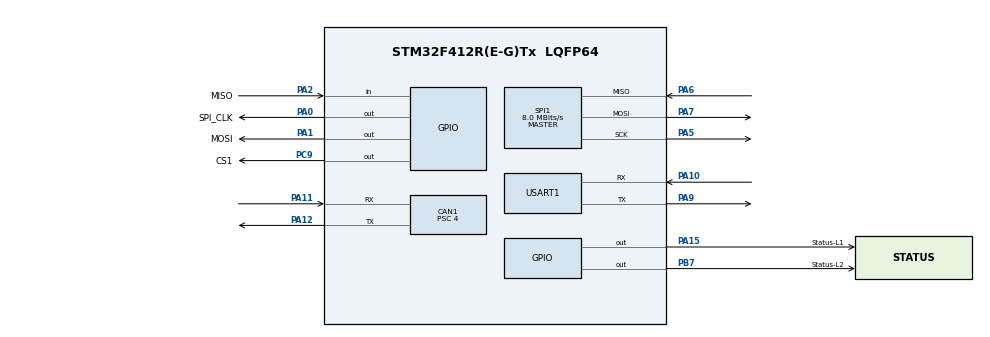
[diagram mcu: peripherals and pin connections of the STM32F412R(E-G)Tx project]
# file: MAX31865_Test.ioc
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CAN1.BS1=CAN_BS1_2TQ
CAN1.CalculateBaudRate=1000000
CAN1.CalculateTimeBit=1000
CAN1.CalculateTimeQuantum=250.0
CAN1.Prescaler=4
FATFS._MAX_SS=4096
FATFS._USE_LFN=3
Mcu.Family=STM32F4
Mcu.Name=STM32F412R(E-G)Tx
Mcu.Package=LQFP64
NVIC.CAN1_RX0_IRQn=true\:0\:0\:false\:false\:true\:true\:true\:true
NVIC.PriorityGroup=NVIC_PRIORITYGROUP_4
PA0.GPIO_Label=SPI_CLK
PA0.Signal=GPIO_Output
PA1.GPIO_Label=MOSI
PA1.Signal=GPIO_Output
PA10.Mode=Asynchronous
PA10.Signal=USART1_RX
PA11.Mode=CAN_Activate
PA11.Signal=CAN1_RX
PA12.Mode=CAN_Activate
PA12.Signal=CAN1_TX
PA13.Mode=Serial_Wire
PA13.Signal=SYS_JTMS-SWDIO
PA14.Mode=Serial_Wire
PA14.Signal=SYS_JTCK-SWCLK
PA15.GPIO_Label=Status-L1
PA15.Signal=GPIO_Output
PA2.GPIO_Label=MISO
PA2.Signal=GPIO_Input
PA5.Mode=Full_Duplex_Master
PA5.Signal=SPI1_SCK
PA6.Mode=Full_Duplex_Master
PA6.Signal=SPI1_MISO
PA7.Mode=Full_Duplex_Master
PA7.Signal=SPI1_MOSI
PA9.Mode=Asynchronous
PA9.Signal=USART1_TX
PB7.GPIO_Label=Status-L2
PB7.Signal=GPIO_Output
PC14-OSC32_IN.Mode=LSE-External-Oscillator
PC14-OSC32_IN.Signal=RCC_OSC32_IN
PC15-OSC32_OUT.Mode=LSE-External-Oscillator
PC15-OSC32_OUT.Signal=RCC_OSC32_OUT
PC9.GPIO_Label=CS1
PC9.Signal=GPIO_Output
PH0\ -\ OSC_IN.Mode=HSE-External-Oscillator
PH0\ -\ OSC_IN.Signal=RCC_OSC_IN
PH1\ -\ OSC_OUT.Mode=HSE-External-Oscillator
PH1\ -\ OSC_OUT.Signal=RCC_OSC_OUT
ProjectManager.HeapSize=0x200
ProjectManager.StackSize=0x400
ProjectManager.TargetToolchain=STM32CubeIDE
RCC.CortexFreq_Value=16000000
RCC.USBFreq_Value=96000000
RCC.VCOOutputFreq_Value=192000000
SPI1.CalculateBaudRate=8.0 MBits/s
SPI1.Direction=SPI_DIRECTION_2LINES
SPI1.Mode=SPI_MODE_MASTER
SPI1.VirtualType=VM_MASTER
USART1.VirtualMode=VM_ASYNC
VP_FATFS_VS_Generic.Mode=User_defined
VP_RTC_VS_RTC_Activate.Mode=RTC_Enabled
board=custom

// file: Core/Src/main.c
/* USER CODE BEGIN Header */
/**
  ******************************************************************************
  * @file           : main.c
  * @brief          : Main program body
  ******************************************************************************
  * @attention
  *
  * Copyright (c) 2023 STMicroelectronics.
  * All rights reserved.
  *
  * This software is licensed under terms that can be found in the LICENSE file
  * in the root directory of this software component.
  * If no LICENSE file comes with this software, it is provided AS-IS.
  *
  ******************************************************************************
  */
/* USER CODE END Header */
#include "main.h"
#include "fatfs.h"

/* USER CODE BEGIN Includes */
#include <string.h>
#include "MAX31865.h"
/* USER CODE END Includes */

CAN_HandleTypeDef hcan1;

RTC_HandleTypeDef hrtc;

SPI_HandleTypeDef hspi1;

UART_HandleTypeDef huart1;

void SystemClock_Config(void);
static void MX_GPIO_Init(void);
static void MX_CAN1_Init(void);
static void MX_RTC_Init(void);
static void MX_SPI1_Init(void);
static void MX_USART1_UART_Init(void);
/* USER CODE BEGIN PFP */
MAX31865_GPIO *gpio1;
/* USER CODE END PFP */

/* USER CODE BEGIN 0 */
/*FATFS 	fs;
FIL 	fil;
FRESULT fres;
UINT	fbyte;
char buffer[1024];*/
float Temperature;

RTC_TimeTypeDef sTime;
RTC_DateTypeDef sDate;

char time[10];
char date[10];

CAN_RxHeaderTypeDef RxHeader;
uint8_t RxData[8];
uint8_t Stop = 0;
/* USER CODE END 0 */

int main(void)
{

  /* MCU Configuration--------------------------------------------------------*/

  /* Reset of all peripherals, Initializes the Flash interface and the Systick. */
  HAL_Init();

  /* Configure the system clock */
  SystemClock_Config();

  /* Initialize all configured peripherals */
  MX_GPIO_Init();
  MX_CAN1_Init();
  MX_RTC_Init();
  MX_SPI1_Init();
  MX_USART1_UART_Init();
  MX_FATFS_Init();
  /* USER CODE BEGIN 2 */
  //HAL_CAN_Start(&hcan1);
  //HAL_CAN_ActivateNotification(&hcan1,CAN_IT_RX_FIFO0_MSG_PENDING);

  /*fres = f_mount(&fs,"",0);
  if (fres != FR_OK)
	  Error_Handler();

  fres = f_open(&fil,"TemperatureSensorTest.csv",FA_CREATE_ALWAYS|FA_WRITE);
  if (fres != FR_OK)
	  Error_Handler();*/

  gpio1->CE_PIN = CS1_Pin;
  gpio1->CE_PORT = CS1_GPIO_Port;

  gpio1->CLK_PIN = SPI_CLK_Pin;
  gpio1->CLK_PORT = SPI_CLK_GPIO_Port;

  gpio1->MISO_PIN = MISO_Pin;
  gpio1->MISO_PORT = MISO_GPIO_Port;

  gpio1->MOSI_PIN = MOSI_Pin;
  gpio1->MOSI_PORT = MOSI_GPIO_Port;

  MAX31865_init(gpio1,3);
  char headerList[216],stringTemp[216];
  strcpy(headerList,"Temperature CS1, Timestamp\n\0");
  /*fres = f_write(&fil,headerList,strlen(headerList),&fbyte);*/

  sTime.Hours = 0x10; // set hours
  sTime.Minutes = 0x20; // set minutes
  sTime.Seconds = 0x30; // set seconds
  if (HAL_RTC_SetTime(&hrtc, &sTime, RTC_FORMAT_BCD) != HAL_OK)
  {
    Error_Handler();
  }
  sDate.WeekDay = RTC_WEEKDAY_THURSDAY; // day
  sDate.Month = RTC_MONTH_AUGUST; //  month
  sDate.Date = 0x9; // date
  sDate.Year = 0x18; // year
  if (HAL_RTC_SetDate(&hrtc, &sDate, RTC_FORMAT_BCD) != HAL_OK)
  {
    Error_Handler();
  }
  HAL_RTCEx_BKUPWrite(&hrtc, RTC_BKP_DR1, 0x32F2); // backup register
  RTC_DateTypeDef gDate;
  RTC_TimeTypeDef gTime;
  /* USER CODE END 2 */

  /* Infinite loop */
  /* USER CODE BEGIN WHILE */
  while (Stop == 0)
  {
    /* USER CODE END WHILE */

	  /* Get the RTC current Time */
	  HAL_RTC_GetTime(&hrtc, &gTime, RTC_FORMAT_BIN);
	  /* Get the RTC current Date */
	  HAL_RTC_GetDate(&hrtc, &gDate, RTC_FORMAT_BIN);
	  /* Display time Format: hh:mm:ss */
	  sprintf((char*)time,"%02d:%02d:%02d",gTime.Hours, gTime.Minutes, gTime.Seconds);
	  /* Display date Format: dd-mm-yy */
	  sprintf((char*)date,"%02d-%02d-%2d",gDate.Date, gDate.Month, 2000 + gDate.Year);

	  Temperature = MAX31865_readTemp();

	  sprintf(stringTemp,"%f,%s-%s\n",Temperature,time,date);

	  HAL_UART_Transmit(&huart1,(uint8_t *)stringTemp,strlen(stringTemp),1000);
	  /*fres = f_write(&fil,stringTemp,strlen(stringTemp),&fbyte);*/

	  HAL_Delay(1000);
    /* USER CODE BEGIN 3 */
  }
  /*f_close(&fil);*/
  /* USER CODE END 3 */
}

void SystemClock_Config(void)
{
  RCC_OscInitTypeDef RCC_OscInitStruct = {0};
  RCC_ClkInitTypeDef RCC_ClkInitStruct = {0};

  /** Configure the main internal regulator output voltage
  */
  __HAL_RCC_PWR_CLK_ENABLE();
  __HAL_PWR_VOLTAGESCALING_CONFIG(PWR_REGULATOR_VOLTAGE_SCALE1);

  /** Initializes the RCC Oscillators according to the specified parameters
  * in the RCC_OscInitTypeDef structure.
  */
  RCC_OscInitStruct.OscillatorType = RCC_OSCILLATORTYPE_HSI|RCC_OSCILLATORTYPE_LSI;
  RCC_OscInitStruct.LSEState = RCC_LSE_ON;
  RCC_OscInitStruct.HSIState = RCC_HSI_ON;
  RCC_OscInitStruct.HSICalibrationValue = RCC_HSICALIBRATION_DEFAULT;
  RCC_OscInitStruct.LSIState = RCC_LSI_ON;
  RCC_OscInitStruct.PLL.PLLState = RCC_PLL_NONE;
  if (HAL_RCC_OscConfig(&RCC_OscInitStruct) != HAL_OK)
  {
    Error_Handler();
  }

  /** Initializes the CPU, AHB and APB buses clocks
  */
  RCC_ClkInitStruct.ClockType = RCC_CLOCKTYPE_HCLK|RCC_CLOCKTYPE_SYSCLK
                              |RCC_CLOCKTYPE_PCLK1|RCC_CLOCKTYPE_PCLK2;
  RCC_ClkInitStruct.SYSCLKSource = RCC_SYSCLKSOURCE_HSI;
  RCC_ClkInitStruct.AHBCLKDivider = RCC_SYSCLK_DIV1;
  RCC_ClkInitStruct.APB1CLKDivider = RCC_HCLK_DIV1;
  RCC_ClkInitStruct.APB2CLKDivider = RCC_HCLK_DIV1;

  if (HAL_RCC_ClockConfig(&RCC_ClkInitStruct, FLASH_LATENCY_0) != HAL_OK)
  {
    Error_Handler();
  }
}

static void MX_CAN1_Init(void)
{

  hcan1.Instance = CAN1;
  hcan1.Init.Prescaler = 4;
  hcan1.Init.Mode = CAN_MODE_NORMAL;
  hcan1.Init.SyncJumpWidth = CAN_SJW_1TQ;
  hcan1.Init.TimeSeg1 = CAN_BS1_2TQ;
  hcan1.Init.TimeSeg2 = CAN_BS2_1TQ;
  hcan1.Init.TimeTriggeredMode = DISABLE;
  hcan1.Init.AutoBusOff = DISABLE;
  hcan1.Init.AutoWakeUp = DISABLE;
  hcan1.Init.AutoRetransmission = DISABLE;
  hcan1.Init.ReceiveFifoLocked = DISABLE;
  hcan1.Init.TransmitFifoPriority = DISABLE;
  if (HAL_CAN_Init(&hcan1) != HAL_OK)
  {
    Error_Handler();
  }
  /* USER CODE BEGIN CAN1_Init 2 */
  CAN_FilterTypeDef CAN_Filt;

  CAN_Filt.FilterActivation = CAN_FILTER_ENABLE;
  CAN_Filt.FilterBank = 18;  // which filter bank to use from the assigned ones
  CAN_Filt.FilterFIFOAssignment = CAN_FILTER_FIFO0;
  CAN_Filt.FilterIdHigh = 0xFFF<<5; // No register filter
  CAN_Filt.FilterIdLow = 0;
  CAN_Filt.FilterMaskIdHigh = 0xFFF<<5; // No register filter
  CAN_Filt.FilterMaskIdLow = 0x0000;
  CAN_Filt.FilterMode = CAN_FILTERMODE_IDMASK;
  CAN_Filt.FilterScale = CAN_FILTERSCALE_32BIT;
  CAN_Filt.SlaveStartFilterBank = 20;  // how many filters to assign to the CAN1 (master can)

  HAL_CAN_ConfigFilter(&hcan1, &CAN_Filt);
  /* USER CODE END CAN1_Init 2 */

}

static void MX_RTC_Init(void)
{

  /** Initialize RTC Only
  */
  hrtc.Instance = RTC;
  hrtc.Init.HourFormat = RTC_HOURFORMAT_24;
  hrtc.Init.AsynchPrediv = 127;
  hrtc.Init.SynchPrediv = 255;
  hrtc.Init.OutPut = RTC_OUTPUT_DISABLE;
  hrtc.Init.OutPutPolarity = RTC_OUTPUT_POLARITY_HIGH;
  hrtc.Init.OutPutType = RTC_OUTPUT_TYPE_OPENDRAIN;
  if (HAL_RTC_Init(&hrtc) != HAL_OK)
  {
    Error_Handler();
  }

}

static void MX_SPI1_Init(void)
{

  /* SPI1 parameter configuration*/
  hspi1.Instance = SPI1;
  hspi1.Init.Mode = SPI_MODE_MASTER;
  hspi1.Init.Direction = SPI_DIRECTION_2LINES;
  hspi1.Init.DataSize = SPI_DATASIZE_8BIT;
  hspi1.Init.CLKPolarity = SPI_POLARITY_LOW;
  hspi1.Init.CLKPhase = SPI_PHASE_1EDGE;
  hspi1.Init.NSS = SPI_NSS_SOFT;
  hspi1.Init.BaudRatePrescaler = SPI_BAUDRATEPRESCALER_2;
  hspi1.Init.FirstBit = SPI_FIRSTBIT_MSB;
  hspi1.Init.TIMode = SPI_TIMODE_DISABLE;
  hspi1.Init.CRCCalculation = SPI_CRCCALCULATION_DISABLE;
  hspi1.Init.CRCPolynomial = 10;
  if (HAL_SPI_Init(&hspi1) != HAL_OK)
  {
    Error_Handler();
  }

}

static void MX_USART1_UART_Init(void)
{

  huart1.Instance = USART1;
  huart1.Init.BaudRate = 115200;
  huart1.Init.WordLength = UART_WORDLENGTH_8B;
  huart1.Init.StopBits = UART_STOPBITS_1;
  huart1.Init.Parity = UART_PARITY_NONE;
  huart1.Init.Mode = UART_MODE_TX_RX;
  huart1.Init.HwFlowCtl = UART_HWCONTROL_NONE;
  huart1.Init.OverSampling = UART_OVERSAMPLING_16;
  if (HAL_UART_Init(&huart1) != HAL_OK)
  {
    Error_Handler();
  }

}

static void MX_GPIO_Init(void)
{
  GPIO_InitTypeDef GPIO_InitStruct = {0};

  /* GPIO Ports Clock Enable */
  __HAL_RCC_GPIOC_CLK_ENABLE();
  __HAL_RCC_GPIOH_CLK_ENABLE();
  __HAL_RCC_GPIOA_CLK_ENABLE();
  __HAL_RCC_GPIOB_CLK_ENABLE();

  /*Configure GPIO pin Output Level */
  HAL_GPIO_WritePin(GPIOA, SPI_CLK_Pin|MOSI_Pin|Status_L1_Pin, GPIO_PIN_RESET);

  /*Configure GPIO pin Output Level */
  HAL_GPIO_WritePin(CS1_GPIO_Port, CS1_Pin, GPIO_PIN_RESET);

  /*Configure GPIO pin Output Level */
  HAL_GPIO_WritePin(Status_L2_GPIO_Port, Status_L2_Pin, GPIO_PIN_RESET);

  /*Configure GPIO pins : SPI_CLK_Pin MOSI_Pin Status_L1_Pin */
  GPIO_InitStruct.Pin = SPI_CLK_Pin|MOSI_Pin|Status_L1_Pin;
  GPIO_InitStruct.Mode = GPIO_MODE_OUTPUT_PP;
  GPIO_InitStruct.Pull = GPIO_NOPULL;
  GPIO_InitStruct.Speed = GPIO_SPEED_FREQ_LOW;
  HAL_GPIO_Init(GPIOA, &GPIO_InitStruct);

  /*Configure GPIO pin : MISO_Pin */
  GPIO_InitStruct.Pin = MISO_Pin;
  GPIO_InitStruct.Mode = GPIO_MODE_INPUT;
  GPIO_InitStruct.Pull = GPIO_NOPULL;
  HAL_GPIO_Init(MISO_GPIO_Port, &GPIO_InitStruct);

  /*Configure GPIO pin : CS1_Pin */
  GPIO_InitStruct.Pin = CS1_Pin;
  GPIO_InitStruct.Mode = GPIO_MODE_OUTPUT_PP;
  GPIO_InitStruct.Pull = GPIO_NOPULL;
  GPIO_InitStruct.Speed = GPIO_SPEED_FREQ_LOW;
  HAL_GPIO_Init(CS1_GPIO_Port, &GPIO_InitStruct);

  /*Configure GPIO pin : Status_L2_Pin */
  GPIO_InitStruct.Pin = Status_L2_Pin;
  GPIO_InitStruct.Mode = GPIO_MODE_OUTPUT_PP;
  GPIO_InitStruct.Pull = GPIO_NOPULL;
  GPIO_InitStruct.Speed = GPIO_SPEED_FREQ_LOW;
  HAL_GPIO_Init(Status_L2_GPIO_Port, &GPIO_InitStruct);

}

/* USER CODE BEGIN 4 */
void HAL_CAN_RxFifo0MsgPendingCallback(CAN_HandleTypeDef *hcan)
{
	HAL_CAN_GetRxMessage(&hcan1,CAN_RX_FIFO0, &RxHeader, RxData);

	if (RxHeader.DLC > 0)
	{
		Stop = 1;
		HAL_GPIO_TogglePin(Status_L2_GPIO_Port,Status_L2_Pin);
	}
}
/* USER CODE END 4 */

void Error_Handler(void)
{
  __disable_irq();
  while (1)
  {
  }
}
